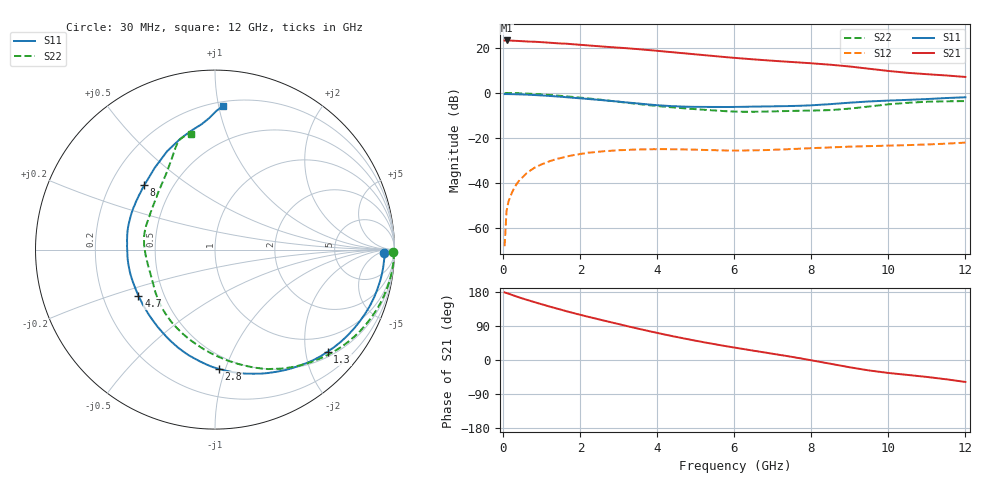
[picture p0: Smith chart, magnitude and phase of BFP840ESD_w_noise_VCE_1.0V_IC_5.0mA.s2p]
! Infineon Technologies  Discrete & RF Semiconductors
! BFP840ESD
! VCE =  1.0 V,  IC =  5.0 mA
! Common Emitter S-Parameters:  May 2012
# GHz  S  MA  R  50
!  f  S11  S21  S12  S22
! GHz  MAG  ANG  MAG  ANG  MAG  ANG  MAG  ANG
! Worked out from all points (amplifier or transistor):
!   93 points, 30 MHz to 12 GHz, reference 50 ohm
!   highest |S21| = 23.3 dB at 80 MHz (marker M1)
!   |S21| within 3 dB of that: start of sweep to 2.823 GHz
!   unconditionally stable (mu >= 1): 6.045 GHz to 10.7 GHz
!   at 1.1 GHz: K = 0.18, MSG = 26.7 dB, |S12| = -31.0 dB
!   at 4.2 GHz: K = 0.61, MSG = 21.6 dB, |S12| = -24.9 dB
!   at 12 GHz: K = 0.75, MSG = 14.6 dB, |S12| = -22.0 dB
!   lowest NFmin = 0.60 dB at 450 MHz
!   S11 on the Smith chart (normalised r, x): 30 MHz: 32, -10; 1.3 GHz: 0.61, -2.46; 2.8 GHz: 0.40, -0.95; 4.7 GHz: 0.36, -0.24; 8 GHz: 0.35, +0.35; 12 GHz: 0.23, +1.03
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0.03  0.9439 -1.0  14.53 178.4  0.0004 -153.0  0.9945 -0.7
0.08  0.945 -2.7  14.61 176.7  0.0024 102.3  0.9968 -2.3
0.18  0.9422 -6.1  14.49 173.3  0.0051 83.1  0.9951 -5.4
0.43  0.9299 -14.3  14.14 164.5  0.012 78.4  0.9821 -12.9
0.8  0.9003 -26.4  13.7 152.9  0.0218 69.5  0.9494 -23.6
1  0.8805 -32.8  13.36 146.9  0.0263 64.8  0.9272 -29.3
1.3  0.8472 -42.2  12.82 138.2  0.0326 57.9  0.8883 -37.6
1.7  0.7964 -54.8  12.25 127.0  0.0399 49.2  0.8313 -48.3
2.1  0.7474 -67.0  11.52 116.6  0.0456 41.6  0.7726 -58.5
2.8  0.6647 -88.2  10.38 99.4  0.0523 29.8  0.6652 -75.9
3.1  0.628 -97.8  9.977 92.1  0.0541 25.6  0.6222 -83.5
3.5  0.5845 -110.4  9.371 82.7  0.0558 20.1  0.5693 -94.0
4.1  0.5278 -129.9  8.435 69.2  0.0567 13.1  0.5043 -110.3
4.7  0.498 -148.9  7.575 56.6  0.0559 7.9  0.4568 -125.7
5.3  0.4903 -165.9  6.794 45.1  0.0542 4.6  0.4193 -139.8
6.1  0.4908 175.9  5.915 31.2  0.0528 3.9  0.3852 -158.0
7  0.5052 158.6  5.178 16.3  0.0547 4.2  0.3897 -178.3
8  0.5326 137.8  4.552 -0.8  0.0597 2.3  0.4064 160.6
8.5  0.5656 126.5  4.226 -10.0  0.062 0.8  0.417 147.9
9.5  0.6486 107.1  3.444 -27.6  0.0662 -3.7  0.5016 122.9
10.5  0.7032 96.0  2.798 -39.4  0.0697 -7.5  0.6051 111.5
12  0.8029 86.7  2.265 -57.9  0.0792 -12.1  0.6607 101.9
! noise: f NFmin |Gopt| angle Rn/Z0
0.45  0.6  0.49  2  0.2
0.9  0.6  0.49  5  0.19
1.5  0.64  0.48  14  0.17
1.9  0.67  0.46  18  0.16
2.4  0.68  0.41  30  0.15
3.5  0.72  0.3  57  0.12
5.5  0.84  0.21  119  0.1
8  1.02  0.35  -145  0.07
10  1.19  0.5  -102  0.16
12  1.42  0.59  -79  0.26
